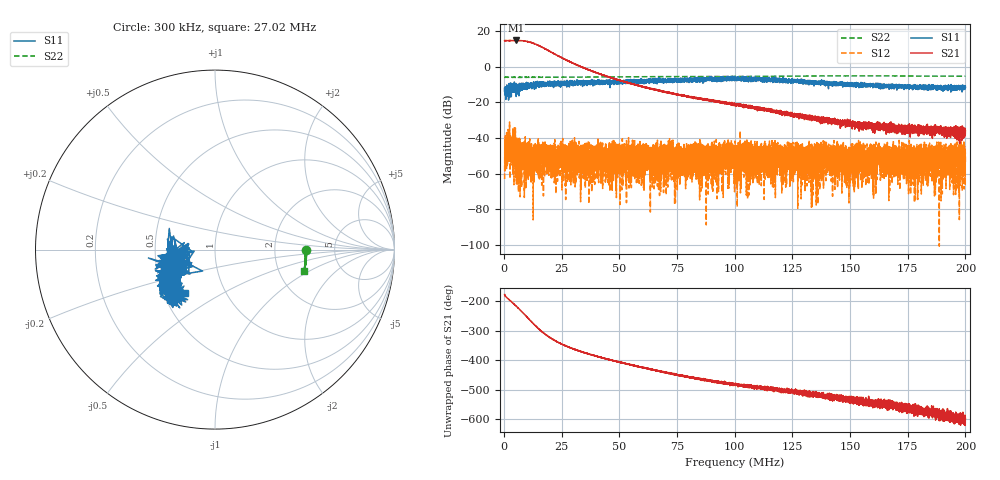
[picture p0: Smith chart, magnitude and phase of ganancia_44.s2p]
# Hz S DB R 50
! CMT, M5065, 19127446, 24.2.4/2
! Date: 11/8/2024 5:18:50 PM
! Data: Format (Calibration Info)
! Freq	S11:dB/Ang(F2)	S21:dB/Ang(F2)	S12:dB/Ang(F2)	S22:dB/Ang(F2)
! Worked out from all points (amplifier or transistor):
!   9000 points, 300 kHz to 200 MHz, reference 50 ohm
!   highest |S21| = 14.8 dB at 5.249 MHz (marker M1)
!   |S21| within 3 dB of that: start of sweep to 15.33 MHz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
!   unconditionally stable (mu >= 1): start of sweep to end of sweep
!   at 33.59 MHz: K = 120.41, MAG = 1.9 dB, |S12| = -51.6 dB
!   at 100.2 MHz: K = 1808.97, MAG = -18.5 dB, |S12| = -55.0 dB
!   at 200 MHz: K = 10889.79, MAG = -34.1 dB, |S12| = -54.5 dB
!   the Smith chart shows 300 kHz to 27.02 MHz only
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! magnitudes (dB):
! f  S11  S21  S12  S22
! 300 kHz  -13.6  14.7  -63.0  -5.9
! 1.498 MHz  -12.2  14.7  -48.1  -5.9
! 5.249 MHz  -10.3  14.8  -44.7  -5.9
! 7.091 MHz  -12.5  14.7  -46.1  -5.9
! 12.24 MHz  -9.6  13.4  -45.6  -5.9
! 18.65 MHz  -9.0  9.5  -48.7  -5.8
! 21.6 MHz  -10.0  7.4  -51.3  -5.8
! 33.59 MHz  -8.6  0.0  -51.6  -5.8
! 56.42 MHz  -8.5  -9.9  -45.3  -5.6
! 66.87 MHz  -7.9  -13.1  -49.2  -5.5
! 71.49 MHz  -8.1  -14.4  -54.7  -5.5
! 74.86 MHz  -7.5  -15.6  -49.3  -5.5
! 90.86 MHz  -6.8  -18.9  -43.9  -5.5
! 92.86 MHz  -7.2  -19.5  -57.5  -5.5
! 98.74 MHz  -6.5  -20.6  -47.7  -5.4
! 100.2 MHz  -7.4  -20.8  -55.0  -5.4
! 104 MHz  -6.2  -21.5  -44.3  -5.4
! 133.4 MHz  -8.5  -28.6  -51.6  -5.2
! 166.7 MHz  -9.9  -34.7  -53.5  -5.1
! 178.9 MHz  -11.2  -34.1  -52.2  -5.2
! 193.1 MHz  -12.1  -36.9  -54.2  -5.3
! 200 MHz  -11.6  -35.9  -54.5  -5.3
